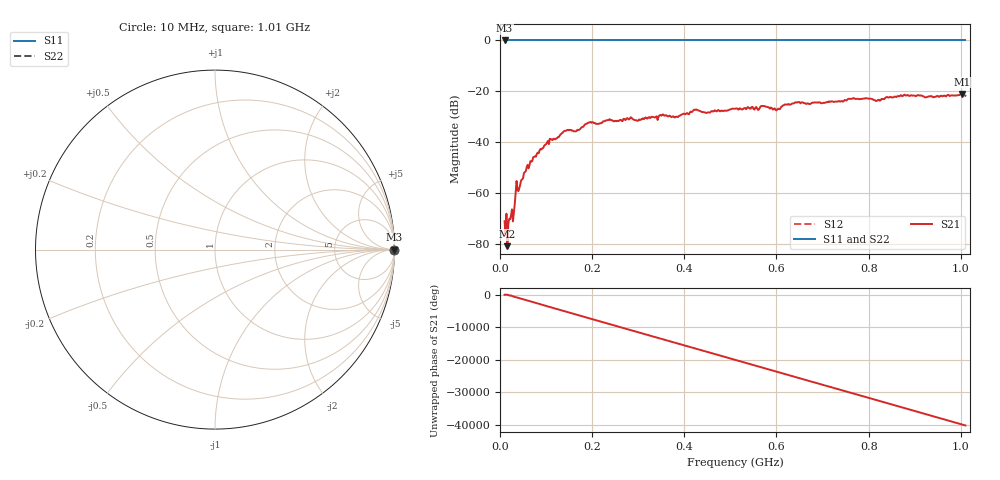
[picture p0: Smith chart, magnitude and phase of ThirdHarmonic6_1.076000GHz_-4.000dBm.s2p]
! 8/16/2025 9:49:08 AM
! C:\ANRITSUVNA\TEMP\TEMP.S2P
! CHANNEL.1
! TR.MEASUREMENT
! RAW.DATA
! RF.CORRECTION.OFF
! AVERAGING.OFF
! IF.BANDWIDTH: 5KHZ
! SWEEPTYPE:  FREQ.SWEEP(Linear)
! Reference Plane Port Info
! PORT:  PORT1  PORT2
! DISTANCE:  0  m  0  m
! TIME:  0  s  0  s
! PHASE.OFFSET:  0  deg.  0  deg.
! LOSS:  0  dB  0  dB
! REF.LOSS:  0  dB  0  dB
! REF.FREQ:  0  Hz  0  Hz
! Power Info
! POWER:  -20  dBm  -20  dBm
! EFF.POWER:  -20  dBm  -20  dBm
! SOURCE.ATTEN:  0  dB  0  dB
! TEST.ATTEN:  0  dB  0  dB
# GHZ S RI R 50.0
! FREQ.GHZ  S11RE  S11IM  S21RE  S21IM  S12RE  S12IM  S22RE  S22IM
!; PortSelection: Port_12
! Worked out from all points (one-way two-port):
!   501 points, 10 MHz to 1.01 GHz, reference 50 ohm
!   highest |S21| = -21.05 dB at 1.002 GHz (marker M1); lowest = -81.0 dB at 16 MHz (marker M2)
!   lowest |S11| = 0.0 dB at 10 MHz (marker M3)
!   |S11| at or under -10 dB: nowhere
!   |S22| runs from 0.0 to 0.0 dB; largest |S21 - S12| = 1.1
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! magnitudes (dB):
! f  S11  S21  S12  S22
! 10 MHz  0.0  -71.2  0.0  0.0
! 12 MHz  0.0  -76.5  0.0  0.0
! 16 MHz  0.0  -81.0  0.0  0.0
! 28 MHz  0.0  -71.3  0.0  0.0
! 38 MHz  0.0  -59.0  0.0  0.0
! 70 MHz  0.0  -47.5  0.0  0.0
! 112 MHz  0.0  -39.1  0.0  0.0
! 142 MHz  0.0  -35.6  0.0  0.0
! 178 MHz  0.0  -34.1  0.0  0.0
! 234 MHz  0.0  -31.4  0.0  0.0
! 344 MHz  0.0  -30.0  0.0  0.0
! 382 MHz  0.0  -30.0  0.0  0.0
! 424 MHz  0.0  -27.3  0.0  0.0
! 450 MHz  0.0  -28.4  0.0  0.0
! 510 MHz  0.0  -26.9  0.0  0.0
! 570 MHz  0.0  -25.8  0.0  0.0
! 602 MHz  0.0  -27.1  0.0  0.0
! 644 MHz  0.0  -24.5  0.0  0.0
! 678 MHz  0.0  -24.5  0.0  0.0
! 844 MHz  0.0  -22.5  0.0  0.0
! 1.002 GHz  0.0  -21.0  0.0  0.0
! 1.01 GHz  0.0  -21.8  0.0  0.0
